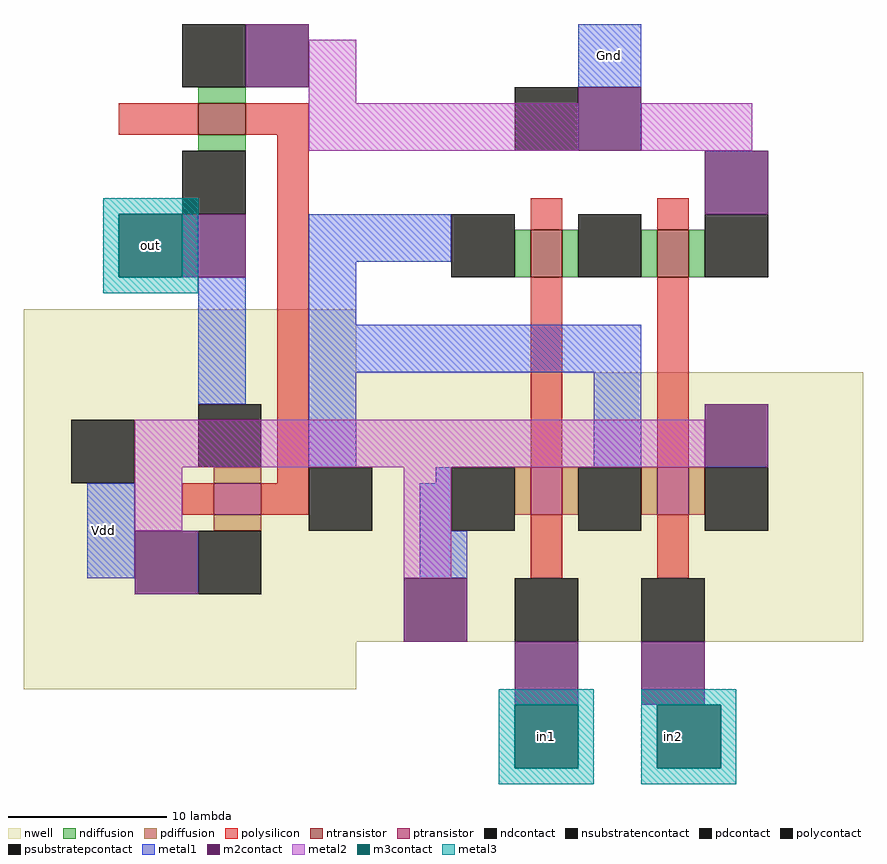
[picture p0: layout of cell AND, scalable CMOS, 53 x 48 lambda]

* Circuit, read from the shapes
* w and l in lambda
.subckt AND Gnd Vdd in1 in2 out
M1 Gnd n1 out Gnd nfet w=3 l=2
M2 n2 in1 n1 Gnd nfet w=3 l=2
M3 Gnd in2 n2 Gnd nfet w=3 l=2
M4 out n1 Vdd Vdd pfet w=3 l=2
M5 n1 in1 Vdd Vdd pfet w=3 l=2
M6 Vdd in2 n1 Vdd pfet w=3 l=2
.ends

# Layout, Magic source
magic
tech scmos
<< nwell >>
rect -36 11 -15 15
rect -36 -6 17 11
rect -36 -9 -15 -6
<< ntransistor >>
rect -25 26 -22 28
rect -4 17 -2 20
rect 4 17 6 20
<< ptransistor >>
rect -24 2 -21 4
rect -4 2 -2 5
rect 4 2 6 5
<< ndiffusion >>
rect -25 28 -22 29
rect -25 25 -22 26
rect -5 17 -4 20
rect -2 17 -1 20
rect 3 17 4 20
rect 6 17 7 20
<< pdiffusion >>
rect -24 4 -21 5
rect -24 1 -21 2
rect -5 2 -4 5
rect -2 2 -1 5
rect 3 2 4 5
rect 6 2 7 5
<< ndcontact >>
rect -26 29 -22 33
rect -26 21 -22 25
rect -9 17 -5 21
rect -1 17 3 21
rect 7 17 11 21
<< pdcontact >>
rect -25 5 -21 9
rect -9 1 -5 5
rect -25 -3 -21 1
rect -1 1 3 5
rect 7 1 11 5
<< psubstratepcontact >>
rect -5 25 -1 29
<< nsubstratencontact >>
rect -33 4 -29 8
<< polysilicon >>
rect -30 26 -25 28
rect -22 26 -18 28
rect -20 4 -18 26
rect -4 20 -2 22
rect 4 20 6 22
rect -4 5 -2 17
rect 4 5 6 17
rect -26 2 -24 4
rect -21 2 -18 4
rect -4 -2 -2 2
rect 4 -2 6 2
<< polycontact >>
rect -18 1 -14 5
rect -5 -6 -1 -2
rect 3 -6 7 -2
<< metal1 >>
rect -1 29 3 33
rect -25 9 -22 17
rect -18 18 -9 21
rect -18 14 -15 18
rect -18 11 3 14
rect -18 5 -15 11
rect 0 5 3 11
rect -32 -2 -29 4
rect -10 4 -9 5
rect -11 1 -9 4
rect -11 -2 -8 1
<< m2contact >>
rect -22 29 -18 33
rect -1 25 3 29
rect 7 21 11 25
rect -26 17 -22 21
rect 7 5 11 9
rect -29 -3 -25 1
rect -12 -6 -8 -2
rect -5 -10 -1 -6
rect 3 -10 7 -6
<< metal2 >>
rect -18 28 -15 32
rect -18 25 -1 28
rect 3 25 10 28
rect -29 5 7 8
rect -29 1 -26 5
rect -12 -2 -9 5
<< m3contact >>
rect -30 17 -26 21
rect -5 -14 -1 -10
rect 4 -14 8 -10
<< metal3 >>
rect -31 21 -25 22
rect -31 17 -30 21
rect -26 17 -25 21
rect -31 16 -25 17
rect -6 -10 0 -9
rect -6 -14 -5 -10
rect -1 -14 0 -10
rect -6 -15 0 -14
rect 3 -10 9 -9
rect 3 -14 4 -10
rect 8 -14 9 -10
rect 3 -15 9 -14
<< labels >>
rlabel m3contact -28 19 -28 19 1 out
rlabel metal1 -31 1 -31 1 3 Vdd
rlabel metal1 1 31 1 31 5 Gnd
rlabel m3contact -3 -12 -3 -12 1 in1
rlabel m3contact 5 -12 5 -12 1 in2
<< end >>
